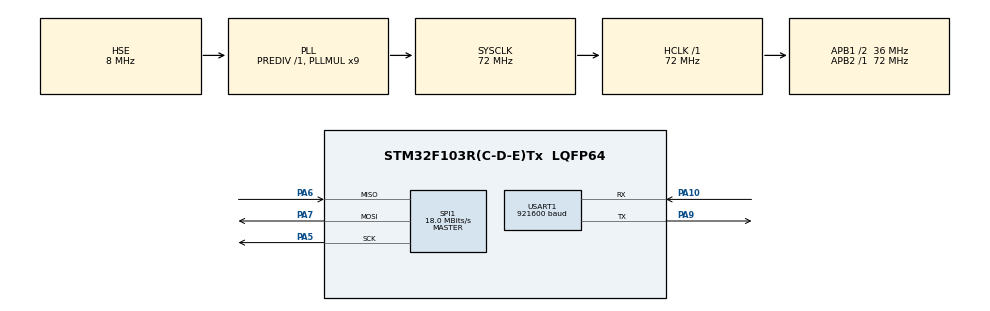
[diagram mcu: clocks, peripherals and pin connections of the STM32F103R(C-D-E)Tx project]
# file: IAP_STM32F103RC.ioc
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Dma.Request0=USART1_RX
Dma.USART1_RX.0.Direction=DMA_PERIPH_TO_MEMORY
Dma.USART1_RX.0.Instance=DMA1_Channel5
Dma.USART1_RX.0.MemDataAlignment=DMA_MDATAALIGN_BYTE
Dma.USART1_RX.0.MemInc=DMA_MINC_ENABLE
Dma.USART1_RX.0.Mode=DMA_NORMAL
Dma.USART1_RX.0.PeriphDataAlignment=DMA_PDATAALIGN_BYTE
Dma.USART1_RX.0.PeriphInc=DMA_PINC_DISABLE
Dma.USART1_RX.0.Priority=DMA_PRIORITY_LOW
Mcu.Family=STM32F1
Mcu.Name=STM32F103R(C-D-E)Tx
Mcu.Package=LQFP64
NVIC.DMA1_Channel5_IRQn=true\:0\:0\:false\:false\:true\:false\:true
NVIC.PriorityGroup=NVIC_PRIORITYGROUP_4
NVIC.USART1_IRQn=true\:0\:0\:false\:false\:true\:true\:true
PA10.Mode=Asynchronous
PA10.Signal=USART1_RX
PA13.Mode=Serial_Wire
PA13.Signal=SYS_JTMS-SWDIO
PA14.Mode=Serial_Wire
PA14.Signal=SYS_JTCK-SWCLK
PA5.Mode=Full_Duplex_Master
PA5.Signal=SPI1_SCK
PA6.Mode=Full_Duplex_Master
PA6.Signal=SPI1_MISO
PA7.Mode=Full_Duplex_Master
PA7.Signal=SPI1_MOSI
PA9.Mode=Asynchronous
PA9.Signal=USART1_TX
PD0-OSC_IN.Mode=HSE-External-Oscillator
PD0-OSC_IN.Signal=RCC_OSC_IN
PD1-OSC_OUT.Mode=HSE-External-Oscillator
PD1-OSC_OUT.Signal=RCC_OSC_OUT
ProjectManager.HeapSize=0x200
ProjectManager.StackSize=0x400
ProjectManager.TargetToolchain=MDK-ARM V5.32
RCC.AHBFreq_Value=72000000
RCC.APB1CLKDivider=RCC_HCLK_DIV2
RCC.APB1Freq_Value=36000000
RCC.APB1TimFreq_Value=72000000
RCC.APB2Freq_Value=72000000
RCC.APB2TimFreq_Value=72000000
RCC.HCLKFreq_Value=72000000
RCC.PLLMUL=RCC_PLL_MUL9
RCC.PLLSourceVirtual=RCC_PLLSOURCE_HSE
RCC.SYSCLKFreq_VALUE=72000000
RCC.SYSCLKSource=RCC_SYSCLKSOURCE_PLLCLK
RCC.USBFreq_Value=72000000
SPI1.BaudRatePrescaler=SPI_BAUDRATEPRESCALER_4
SPI1.CalculateBaudRate=18.0 MBits/s
SPI1.Direction=SPI_DIRECTION_2LINES
SPI1.Mode=SPI_MODE_MASTER
SPI1.VirtualType=VM_MASTER
USART1.BaudRate=921600
USART1.VirtualMode=VM_ASYNC
board=custom

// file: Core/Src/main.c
/* USER CODE BEGIN Header */
/**
  ******************************************************************************
  * @file           : main.c
  * @brief          : Main program body
  ******************************************************************************
  * @attention
  *
  * <h2><center>&copy; Copyright (c) 2025 STMicroelectronics.
  * All rights reserved.</center></h2>
  *
  * This software component is licensed by ST under BSD 3-Clause license,
  * the "License"; You may not use this file except in compliance with the
  * License. You may obtain a copy of the License at:
  *                        opensource.org/licenses/BSD-3-Clause
  *
  ******************************************************************************
  */
/* USER CODE END Header */
#include "main.h"
#include "dma.h"
#include "spi.h"
#include "usart.h"
#include "gpio.h"

/* USER CODE BEGIN Includes */
#include "delay.h"
#include "at24c02.h"
#include "spi.h"
#include "W25Q64.h"
#include "fmc.h"
#include "boot.h"
/* USER CODE END Includes */

/* USER CODE BEGIN PM */
uint32_t    BootStateFlag;
/* USER CODE END PM */

/* USER CODE BEGIN PV */
OTA_InfoCB OTA_Info;
UpDataA_CB UpDataA;
/* USER CODE END PV */

void SystemClock_Config(void);

/* USER CODE BEGIN 0 */
uint32_t wbuff[1024];
uint8_t rbuff[50];
uint8_t crcbuf[5] = {0x01,0x02,0x03,0x04,0x05};
/* USER CODE END 0 */

int main(void)
{

  /* MCU Configuration--------------------------------------------------------*/

  /* Reset of all peripherals, Initializes the Flash interface and the Systick. */
  HAL_Init();

  /* Configure the system clock */
  SystemClock_Config();

  /* Initialize all configured peripherals */
  MX_GPIO_Init();
  MX_DMA_Init();
  MX_USART1_UART_Init();
  MX_SPI1_Init();
  /* USER CODE BEGIN 2 */
  //HAL_Delay(10);
  W25Q64_Init();
  HAL_UART_Receive_DMA(&huart1, (uint8_t *)U0_RxBuff, U0_RX_MAX + 1);
  __HAL_UART_ENABLE_IT(&huart1, UART_IT_IDLE);
  U0Rx_PtrInit();
  IIC_Init();

//  OTA_Info.OTA_flag =0xAABB1122;
//  for(uint8_t i=0;i<11;i++)
//  {
//	OTA_Info.OTA_FileLen[i] = i;
//  }
//  AT24C02_WriteOTAInfo();
//  AT24C02_ReadOTAInfo();
//  AT24C02_ReadData(0,rbuff,OTA_InfoCB_SIZE);
//  for(uint8_t i=0;i<50;i++)
//  {
//	u0_printf("OTA_flag = %x\r\n",rbuff[i]);
//  }
  BOOT_Branch();

  //static uint32_t wbuff[1024];
//  uint32_t i;
//  for(i=0;i<1024;i++)
//  {
//	wbuff[i] = 0x12345678;
//  }
//  FLASH_ERASE(50,2);
//  HAL_Delay(10);
//  FLASH_WRITE(50*2048+0x08000000,wbuff,1024*4);
//  HAL_Delay(10);
////  u0_printf("write success\r\n");
//  for(i=0;i<1024;i++)
//  {
//	u0_printf("%x\r\n",(*((uint32_t *)(50*2048+0x08000000+(i*4)))));
//  }
//  u0_printf("%x\r\n",*((uint32_t *)(0x08019FF2)));

//  uint16_t i,j;
//  uint8_t wdata[256];
//  uint8_t rdata[256];
//  W25Q64_Erase64K(0);
//  for(i= 0;i< 256;i++)
//  {
//	for(j = 0;j<256;j++)
//	{
//		wdata[j] = i;
//	}
//	W25Q64_PageWrite(wdata,i);
//  }
//  HAL_Delay(50);
//  for(i= 0;i< 256;i++)
//  {
//	W25Q64_Read(rdata,i*256,256);
//	for(j = 0;j<256;j++)
//	{
//		u0_printf("地址%d =%x\r\n",i*256+j,rdata[j]);
//	}
//  }

  /* USER CODE END 2 */

  /* Infinite loop */
  while (1)
  {

    /* USER CODE BEGIN 3 */
	  Delay_Ms(10);
		if(U0CB.URxDataOUT != U0CB.URxDataIN)
		{                                                                 										//IN 和 OUT不相等的时候进入if，说明缓冲区有数据了
			BootLoader_Event(U0CB.URxDataOUT->start,U0CB.URxDataOUT->end - U0CB.URxDataOUT->start + 1);        //调用BootLoader_Event处理数据
			U0CB.URxDataOUT++;                                                                                 //OUT后挪
			if(U0CB.URxDataOUT == U0CB.URxDataEND)
			{                                                            										//如果挪到了END标记的最后一个成员，进入if
				U0CB.URxDataOUT = &U0CB.URxDataPtr[0];                      									//重新回到数组0号成员
			}
		}
		if(BootStateFlag&IAP_XMODEMC_FLAG)
		{     										//如果IAP_XMODEMC_FLAG标志位置位，表明需要发送C
			if(UpDataA.XmodemTimeout>=100)
			{
				u0_printf("C");
				UpDataA.XmodemTimeout = 0;
			}
			UpDataA.XmodemTimeout++;
		}

	  //OTA事件
	  if(BootStateFlag & UPDATA_A_FLAG)
	  {
		  AT24C02_ReadOTAInfo();										//如果单独用6，而不用5命令，不加此段代码会有bug，OTA的值没读过来，导致更新失败
		  if(OTA_Info.OTA_FileLen[UpDataA.W25Q64_BlockNB] % 4 == 0)   //四字节对齐
		  {
				uint8_t  i =0;
			    FLASH_ERASE(STM_A_START_PAGE,STM32_A_PAGE_NUM);
				u0_printf("OTA_FileLen: %x\r\n",OTA_Info.OTA_FileLen[UpDataA.W25Q64_BlockNB]);
			    for(i=0;i<OTA_Info.OTA_FileLen[UpDataA.W25Q64_BlockNB] /STM32_PAGE_SIZE;i++)   //按页读写
				{
					W25Q64_Read(UpDataA.Updatabuff,i*STM32_PAGE_SIZE + UpDataA.W25Q64_BlockNB*64*1024,STM32_PAGE_SIZE);    //按block分，一个block64K
					FLASH_WRITE(STM32_A_SADDR+i*STM32_PAGE_SIZE,(uint32_t *)UpDataA.Updatabuff,STM32_PAGE_SIZE);
				}
				if((OTA_Info.OTA_FileLen[UpDataA.W25Q64_BlockNB] % STM32_PAGE_SIZE) != 0)
				{
					W25Q64_Read(UpDataA.Updatabuff,i*STM32_PAGE_SIZE + UpDataA.W25Q64_BlockNB*64*1024,(OTA_Info.OTA_FileLen[UpDataA.W25Q64_BlockNB] % STM32_PAGE_SIZE));    //按block分，一个block64K
					FLASH_WRITE(STM32_A_SADDR+i*STM32_PAGE_SIZE,(uint32_t *)UpDataA.Updatabuff,(OTA_Info.OTA_FileLen[UpDataA.W25Q64_BlockNB] % STM32_PAGE_SIZE));
				}
				if(UpDataA.W25Q64_BlockNB == 0)
				{
					OTA_Info.OTA_flag = 0;
					AT24C02_WriteOTAInfo();
				}
				u0_printf("A区更新完毕\r\n");
				NVIC_SystemReset();
		  }
		  else
		  {
				u0_printf("长度错误\r\n");
				BootStateFlag &= ~UPDATA_A_FLAG;
		  }
	  }

  }
  /* USER CODE END 3 */
}

void SystemClock_Config(void)
{
  RCC_OscInitTypeDef RCC_OscInitStruct = {0};
  RCC_ClkInitTypeDef RCC_ClkInitStruct = {0};

  /** Initializes the RCC Oscillators according to the specified parameters
  * in the RCC_OscInitTypeDef structure.
  */
  RCC_OscInitStruct.OscillatorType = RCC_OSCILLATORTYPE_HSE;
  RCC_OscInitStruct.HSEState = RCC_HSE_ON;
  RCC_OscInitStruct.HSEPredivValue = RCC_HSE_PREDIV_DIV1;
  RCC_OscInitStruct.HSIState = RCC_HSI_ON;
  RCC_OscInitStruct.PLL.PLLState = RCC_PLL_ON;
  RCC_OscInitStruct.PLL.PLLSource = RCC_PLLSOURCE_HSE;
  RCC_OscInitStruct.PLL.PLLMUL = RCC_PLL_MUL9;
  if (HAL_RCC_OscConfig(&RCC_OscInitStruct) != HAL_OK)
  {
    Error_Handler();
  }
  /** Initializes the CPU, AHB and APB buses clocks
  */
  RCC_ClkInitStruct.ClockType = RCC_CLOCKTYPE_HCLK|RCC_CLOCKTYPE_SYSCLK
                              |RCC_CLOCKTYPE_PCLK1|RCC_CLOCKTYPE_PCLK2;
  RCC_ClkInitStruct.SYSCLKSource = RCC_SYSCLKSOURCE_PLLCLK;
  RCC_ClkInitStruct.AHBCLKDivider = RCC_SYSCLK_DIV1;
  RCC_ClkInitStruct.APB1CLKDivider = RCC_HCLK_DIV2;
  RCC_ClkInitStruct.APB2CLKDivider = RCC_HCLK_DIV1;

  if (HAL_RCC_ClockConfig(&RCC_ClkInitStruct, FLASH_LATENCY_2) != HAL_OK)
  {
    Error_Handler();
  }
}

void Error_Handler(void)
{
  __disable_irq();
  while (1)
  {
  }
}

/************************ (C) COPYRIGHT STMicroelectronics *****END OF FILE****/
